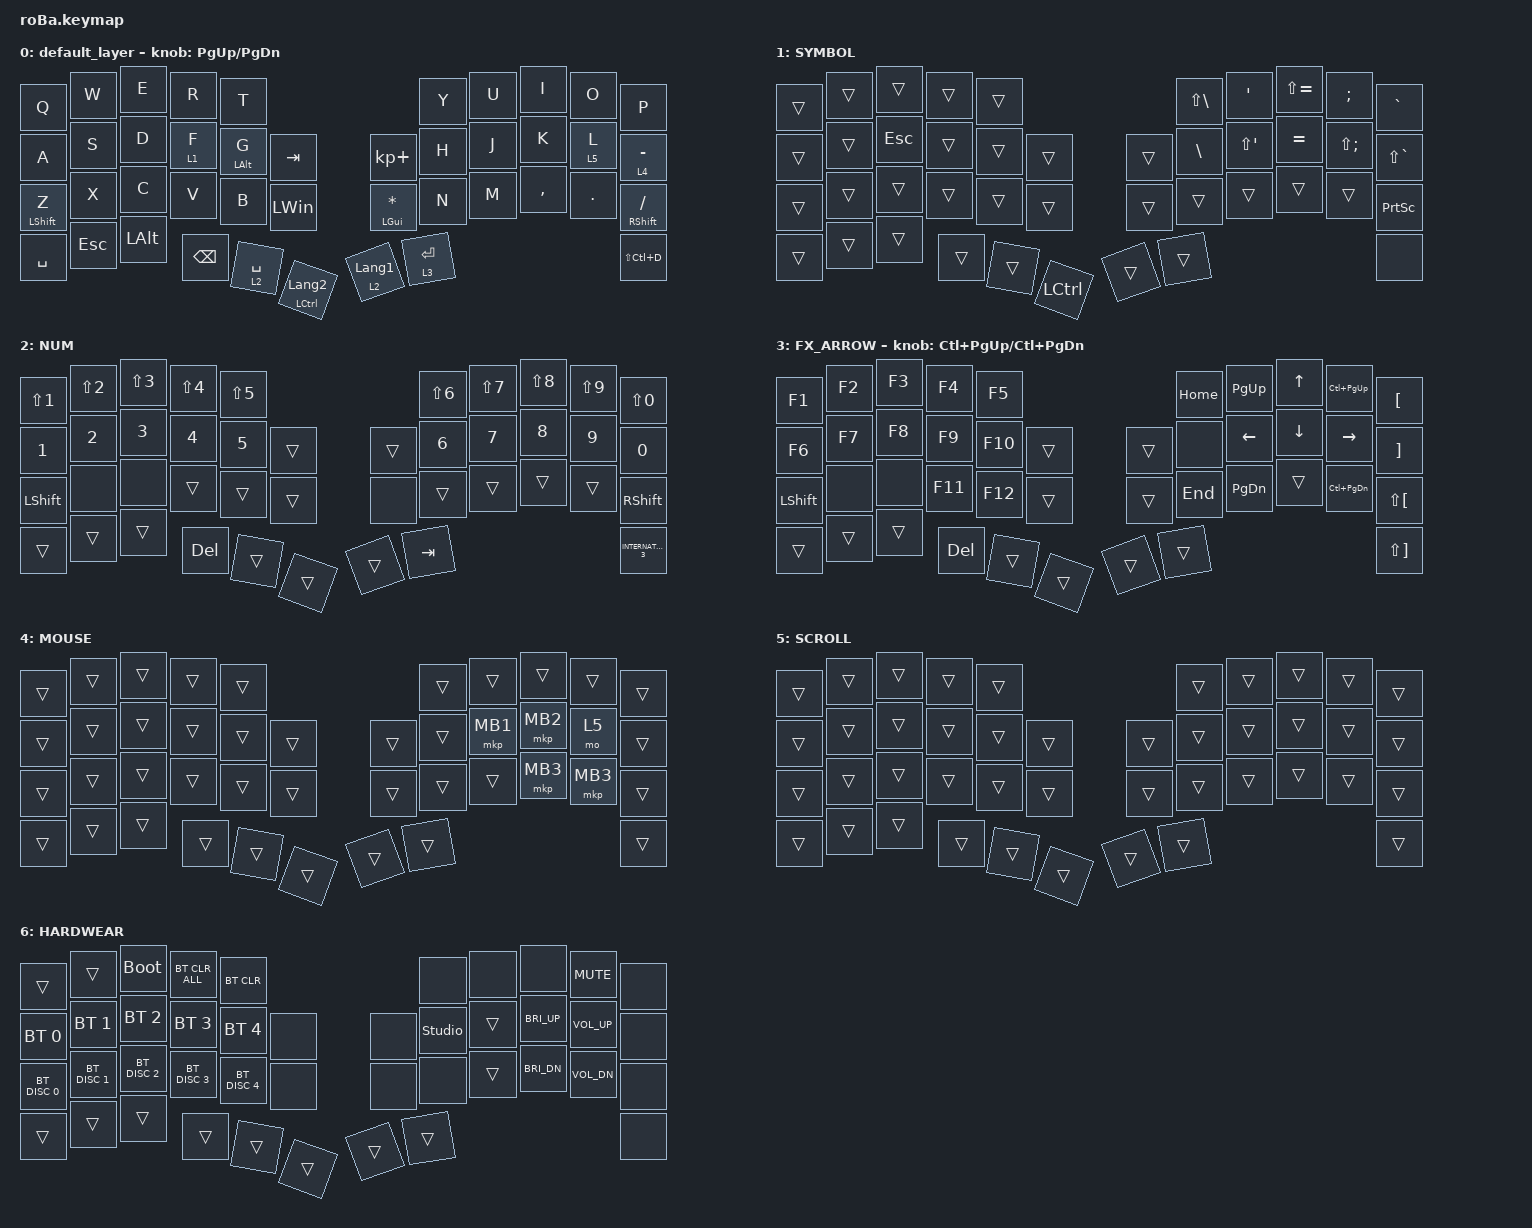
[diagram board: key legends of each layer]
#include <behaviors.dtsi>
#include <dt-bindings/zmk/bt.h>
#include <dt-bindings/zmk/keys.h>
#include <dt-bindings/zmk/pointing.h>

&mt {
    flavor = "balanced";
    quick-tap-ms = <0>;
};

/ {
    combos {
        compatible = "zmk,combos";

        lay6_right {
            bindings = <&mo 6>;
            key-positions = <16 28>;
        };

        lay6_left {
            bindings = <&mo 6>;
            key-positions = <15 27>;
        };
    };

    macros {
        to_layer_0: to_layer_0 {
            compatible = "zmk,behavior-macro-one-param";
            #binding-cells = <1>;
            bindings = <&to 0 &macro_param_1to1 &kp MACRO_PLACEHOLDER>;
            label = "TO_LAYER_0";
        };
    };

    behaviors {
        lt_to_layer_0: lt_to_layer_0 {
            compatible = "zmk,behavior-hold-tap";
            label = "LAYER_TAP_TO_0";
            bindings = <&mo>, <&to_layer_0>;

            #binding-cells = <2>;
            tapping-term-ms = <200>;
        };

        // スペース用レイヤータップ: タップ直後(200ms以内)にもう一度押して押し続けるとスペース長押し(連打)になる

        lt_space: lt_space {
            compatible = "zmk,behavior-hold-tap";
            bindings = <&mo>, <&kp>;

            #binding-cells = <2>;
            tapping-term-ms = <200>;
            quick-tap-ms = <200>;
            flavor = "tap-preferred";
        };
    };

    ttp224tap: ttp224tap {
        compatible = "zmk,kscan-sideband-behaviors";
        kscan = <&touchkey1>;
        auto-enable;

        touch {
            column = <0>;
            row = <0>;
            bindings = <&mo 4>;
        };
    };

    keymap {
        compatible = "zmk,keymap";

        default_layer {
            bindings = <
&kp Q             &kp W       &kp E         &kp R          &kp T                                                               &kp Y        &kp U  &kp I      &kp O    &kp P
&kp A             &kp S       &kp D         &lt 1 F        &mt LEFT_ALT G     &kp TAB                   &kp KP_PLUS            &kp H        &kp J  &kp K      &lt 5 L  &lt 4 MINUS
&mt LEFT_SHIFT Z  &kp X       &kp C         &kp V          &kp B              &kp LEFT_WIN              &mt LEFT_GUI ASTERISK  &kp N        &kp M  &kp COMMA  &kp DOT  &mt RIGHT_SHIFT SLASH
&kp SPACE         &kp ESCAPE  &kp LEFT_ALT  &kp BACKSPACE  &lt_space 2 SPACE  &mt LCTRL LANGUAGE_2      &lt 2 LANGUAGE_1       &lt 3 ENTER                             &kp LS(LC(D))
            >;

            sensor-bindings = <&inc_dec_kp PG_UP PAGE_DOWN>;
        };

        SYMBOL {
            bindings = <
&trans  &trans  &trans      &trans  &trans                         &kp LS(BACKSLASH)  &kp SQT       &kp LS(EQUAL)  &kp SEMI      &kp GRAVE
&trans  &trans  &kp ESCAPE  &trans  &trans  &trans         &trans  &kp BACKSLASH      &kp LS(APOS)  &kp EQUAL      &kp LS(SEMI)  &kp LS(GRAVE)
&trans  &trans  &trans      &trans  &trans  &trans         &trans  &trans             &trans        &trans         &trans        &kp PRINTSCREEN
&trans  &trans  &trans      &trans  &trans  &kp LCTRL      &trans  &trans                                                        &none
            >;
        };

        NUM {
            bindings = <
&kp LS(NUMBER_1)  &kp LS(NUMBER_2)  &kp LS(NUMBER_3)  &kp LS(NUMBER_4)  &kp LS(N5)                        &kp LS(NUMBER_6)  &kp LS(N7)  &kp LS(N8)  &kp LS(N9)  &kp LS(N0)
&kp NUMBER_1      &kp NUMBER_2      &kp NUMBER_3      &kp NUMBER_4      &kp NUMBER_5  &trans      &trans  &kp NUMBER_6      &kp N7      &kp N8      &kp N9      &kp N0
&kp LEFT_SHIFT    &none             &none             &trans            &trans        &trans      &none   &trans            &trans      &trans      &trans      &kp RIGHT_SHIFT
&trans            &trans            &trans            &kp DELETE        &trans        &trans      &trans  &kp TAB                                               &kp INTERNATIONAL_3
            >;
        };

        FX_ARROW {
            bindings = <
&kp F1          &kp F2  &kp F3  &kp F4   &kp F5                       &kp HOME  &kp PG_UP       &kp UP    &kp LC(PG_UP)      &kp LEFT_BRACKET
&kp F6          &kp F7  &kp F8  &kp F9   &kp F10  &trans      &trans  &none     &kp LEFT_ARROW  &kp DOWN  &kp RIGHT          &kp RIGHT_BRACKET
&kp LEFT_SHIFT  &none   &none   &kp F11  &kp F12  &trans      &trans  &kp END   &kp PAGE_DOWN   &trans    &kp LC(PAGE_DOWN)  &kp LS(LEFT_BRACKET)
&trans          &trans  &trans  &kp DEL  &trans   &trans      &trans  &trans                                                 &kp LS(RIGHT_BRACKET)
            >;

            sensor-bindings = <&inc_dec_kp LC(PAGE_UP) LC(PAGE_DOWN)>;
        };

        MOUSE {
            bindings = <
&trans  &trans  &trans  &trans  &trans                      &trans  &trans    &trans    &trans    &trans
&trans  &trans  &trans  &trans  &trans  &trans      &trans  &trans  &mkp MB1  &mkp MB2  &mo 5     &trans
&trans  &trans  &trans  &trans  &trans  &trans      &trans  &trans  &trans    &mkp MB3  &mkp MB3  &trans
&trans  &trans  &trans  &trans  &trans  &trans      &trans  &trans                                &trans
            >;
        };

        SCROLL {
            bindings = <
&trans  &trans  &trans  &trans  &trans                      &trans  &trans  &trans  &trans  &trans
&trans  &trans  &trans  &trans  &trans  &trans      &trans  &trans  &trans  &trans  &trans  &trans
&trans  &trans  &trans  &trans  &trans  &trans      &trans  &trans  &trans  &trans  &trans  &trans
&trans  &trans  &trans  &trans  &trans  &trans      &trans  &trans                          &trans
            >;
        };

        HARDWEAR {
            bindings = <
&trans         &trans         &bootloader    &bt BT_CLR_ALL  &bt BT_CLR                         &none           &none   &none         &kp C_MUTE    &none
&bt BT_SEL 0   &bt BT_SEL 1   &bt BT_SEL 2   &bt BT_SEL 3    &bt BT_SEL 4   &none       &none   &studio_unlock  &trans  &kp C_BRI_UP  &kp C_VOL_UP  &none
&bt BT_DISC 0  &bt BT_DISC 1  &bt BT_DISC 2  &bt BT_DISC 3   &bt BT_DISC 4  &none       &none   &none           &trans  &kp C_BRI_DN  &kp C_VOL_DN  &none
&trans         &trans         &trans         &trans          &trans         &trans      &trans  &trans                                              &none
            >;
        };
    };
};
